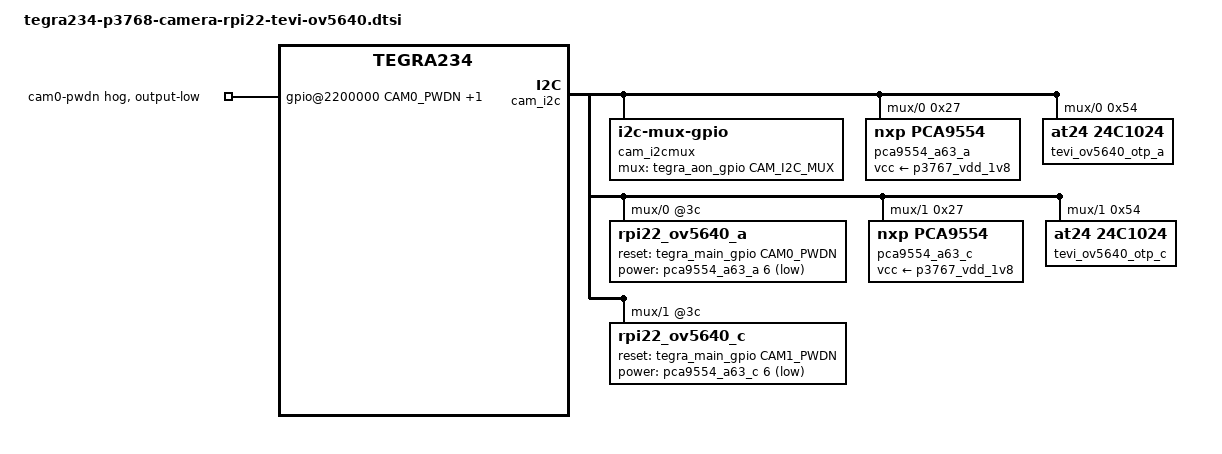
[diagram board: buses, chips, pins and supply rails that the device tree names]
/*
 * Copyright (c) 2022, NVIDIA CORPORATION.  All rights reserved.
 *
 * This program is free software; you can redistribute it and/or modify
 * it under the terms of the GNU General Public License as published by
 * the Free Software Foundation; either version 2 of the License, or
 * (at your option) any later version.
 *
 * This program is distributed in the hope that it will be useful, but WITHOUT
 * ANY WARRANTY; without even the implied warranty of MERCHANTABILITY or
 * FITNESS FOR A PARTICULAR PURPOSE.  See the GNU General Public License for
 * more details.
 *
 * You should have received a copy of the GNU General Public License
 * along with this program.  If not, see <http://www.gnu.org/licenses/>.
 */

#include "tegra234-camera-rpi22-tevi-ov5640.dtsi"

#define CAM0_PWDN	TEGRA234_MAIN_GPIO(H, 6)
#define CAM1_PWDN	TEGRA234_MAIN_GPIO(AC, 0)
#define CAM_I2C_MUX 	TEGRA234_AON_GPIO(CC, 3)

/ {
	cam_i2cmux{
		status = "okay";
		compatible = "i2c-mux-gpio";
		#address-cells = <1>;
		#size-cells = <0>;
		i2c-parent = <&cam_i2c>;
		mux-gpios = <&tegra_aon_gpio CAM_I2C_MUX GPIO_ACTIVE_HIGH>;
		i2c@0 {
			status = "okay";
			reg = <0>;
			#address-cells = <1>;
			#size-cells = <0>;

			pca9554_a63_a: pca9554_a@27 {
							compatible = "nxp,pca9554";
							reg = <0x27>;
							gpio-controller;
							#gpio-cells = <2>;
							vcc-supply = <&p3767_vdd_1v8>;
							vcc_lp = "vcc";
							status = "okay";
			};

			tevi_ov5640_otp_a: tevi_ov5640_otp@54 {
				compatible = "at24,24c1024";
				pagesize = <128>;
				reg = <0x54>;
				status = "okay";
			};

			rpi22_ov5640_a@3c {
				reset-gpios = <&tegra_main_gpio CAM0_PWDN GPIO_ACTIVE_HIGH>;
				power-gpios = <&pca9554_a63_a 6 GPIO_ACTIVE_LOW>;

				nvmem = <&tevi_ov5640_otp_a>;
				nvmem-names = "calib-data";
				status = "okay";
			};

		};
		i2c@1 {
			status = "okay";
			reg = <1>;
			#address-cells = <1>;
			#size-cells = <0>;

			pca9554_a63_c: pca9554_c@27 {
							compatible = "nxp,pca9554";
							reg = <0x27>;
							gpio-controller;
							#gpio-cells = <2>;
							vcc-supply = <&p3767_vdd_1v8>;
							vcc_lp = "vcc";
							status = "okay";
			};

			tevi_ov5640_otp_c: tevi_ov5640_otp@54 {
				compatible = "at24,24c1024";
				pagesize = <128>;
				reg = <0x54>;
				status = "okay";
			};

			rpi22_ov5640_c@3c {
				reset-gpios = <&tegra_main_gpio CAM1_PWDN GPIO_ACTIVE_HIGH>;
				power-gpios = <&pca9554_a63_c 6 GPIO_ACTIVE_LOW>;

				nvmem = <&tevi_ov5640_otp_c>;
				nvmem-names = "calib-data";
				status = "okay";
			};
		};
	};

	gpio@2200000 {
		camera-control-output-low {
			gpio-hog;
			output-low;
			gpios = <CAM0_PWDN 0 CAM1_PWDN 0>;
			label = "cam0-pwdn","cam1-pwdn";
		};
	};
};
